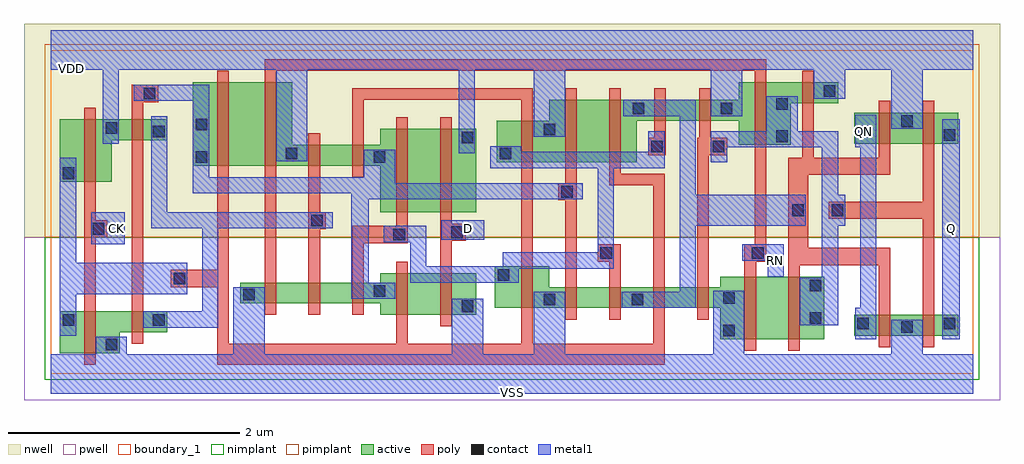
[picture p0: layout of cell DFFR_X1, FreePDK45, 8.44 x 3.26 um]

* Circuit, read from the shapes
.subckt DFFR_X1 CK D Q QN RN VDD VSS
M1 VSS CK n1 VSUBS nfet w=0.36u l=0.1u
M2 n2 n3 VSS VSUBS nfet w=0.18u l=0.1u
M3 n4 RN VSS VSUBS nfet w=0.18u l=0.1u
M4 n5 n2 n4 VSUBS nfet w=0.18u l=0.1u
M5 n3 n6 n5 VSUBS nfet w=0.18u l=0.1u
M6 n7 n1 n3 VSUBS nfet w=0.36u l=0.1u
M7 VSS D n7 VSUBS nfet w=0.36u l=0.1u
M8 VSS n1 n6 VSUBS nfet w=0.36u l=0.1u
M9 n8 n3 VSS VSUBS nfet w=0.18u l=0.1u
M10 n9 n6 n8 VSUBS nfet w=0.18u l=0.1u
M11 n10 n1 n9 VSUBS nfet w=0.18u l=0.1u
M12 VSS n11 n10 VSUBS nfet w=0.18u l=0.1u
M13 n12 RN VSS VSUBS nfet w=0.54u l=0.1u
M14 n11 n9 n12 VSUBS nfet w=0.54u l=0.1u
M15 VSS n9 QN VSUBS nfet w=0.18u l=0.1u
M16 Q n11 VSS VSUBS nfet w=0.18u l=0.1u
M17 VDD CK n1 n13 pfet w=0.54u l=0.1u
M18 n2 n3 VDD n13 pfet w=0.18u l=0.1u
M19 n14 n1 n3 n13 pfet w=0.72u l=0.1u
M20 VDD RN n14 n13 pfet w=0.72u l=0.1u
M21 n15 n2 VDD n13 pfet w=0.18u l=0.1u
M22 n3 n1 n15 n13 pfet w=0.18u l=0.1u
M23 n16 n6 n3 n13 pfet w=0.72u l=0.1u
M24 VDD D n16 n13 pfet w=0.72u l=0.1u
M25 VDD n1 n6 n13 pfet w=0.36u l=0.1u
M26 n17 n3 VDD n13 pfet w=0.54u l=0.1u
M27 n9 n1 n17 n13 pfet w=0.54u l=0.1u
M28 n18 n6 n9 n13 pfet w=0.18u l=0.1u
M29 VDD n11 n18 n13 pfet w=0.18u l=0.1u
M30 n11 RN VDD n13 pfet w=0.54u l=0.1u
M31 VDD n9 n11 n13 pfet w=0.18u l=0.1u
M32 VDD n9 QN n13 pfet w=0.27u l=0.1u
M33 Q n11 VDD n13 pfet w=0.27u l=0.1u
.ends

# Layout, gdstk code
import gdstk
lib = gdstk.Library(unit=1e-6, precision=1e-09)
def R(c, l, rs):  # rectangles x0, y0, x1, y1
    for r in rs: c.add(gdstk.rectangle(r[:2], r[2:], *l))
def P(c, l, *ps):  # polygons
    for p in ps: c.add(gdstk.Polygon(p, *l))
active = (1, 0)
pwell = (2, 0)
nwell = (3, 0)
nimplant = (4, 0)
pimplant = (5, 0)
poly = (9, 0)
contact = (10, 0)
metal1 = (11, 0)
boundary_1 = (235, 1)

dffr_x1 = lib.new_cell('DFFR_X1')
R(dffr_x1, active, [(6.95,0.33,7.85,0.51), (6.95,1.99,7.85,2.26)])
P(dffr_x1, active, [(3.86,1.83),(5.07,1.83),(5.07,2.19),(5.95,2.19),(5.95,1.98),(6.4,1.98),(6.4,2.34),(6.81,2.34),(6.81,2.52),(5.95,2.52),(5.95,2.37),(4.31,2.37),(4.31,2.19),(3.86,2.19)],
  [(3.84,0.57),(5.79,0.57),(5.79,0.3),(6.69,0.3),(6.69,0.84),(5.79,0.84),(5.79,0.75),(4.31,0.75),(4.31,0.93),(3.84,0.93)],
  [(1.23,1.8),(2.85,1.8),(2.85,1.4),(3.68,1.4),(3.68,2.12),(2.85,2.12),(2.85,1.98),(2.09,1.98),(2.09,2.52),(1.23,2.52)],
  [(1.64,0.61),(2.85,0.61),(2.85,0.51),(3.68,0.51),(3.68,0.87),(2.85,0.87),(2.85,0.79),(1.64,0.79)],
  [(0.08,1.66),(0.53,1.66),(0.53,2.02),(1.01,2.02),(1.01,2.2),(0.08,2.2)],
  [(0.08,0.18),(0.6,0.18),(0.6,0.36),(1.01,0.36),(1.01,0.54),(0.08,0.54)])
R(dffr_x1, pwell, [(-0.23,-0.23,8.21,1.18)])
R(dffr_x1, nwell, [(-0.23,1.18,8.21,3.03)])
R(dffr_x1, nimplant, [(-0.05,-0.05,8.03,1.18)])
R(dffr_x1, pimplant, [(-0.05,1.18,8.03,2.85)])
P(dffr_x1, poly, [(6.73,1.34),(7.54,1.34),(7.54,0.23),(7.64,0.23),(7.64,2.36),(7.54,2.36),(7.54,1.49),(6.73,1.49)],
  [(6.55,1.72),(7.26,1.72),(7.26,2.36),(7.16,2.36),(7.16,1.87),(6.6,1.87),(6.6,2.62),(6.5,2.62),(6.5,1.87),(6.38,1.87),(6.38,0.2),(6.48,0.2),(6.48,0.94),(7.16,0.94),(7.16,0.23),(7.26,0.23),(7.26,1.09),(6.55,1.09)],
  [(1.85,0.51),(1.95,0.51),(1.95,2.62),(6.09,2.62),(6.09,1.12),(6,1.12),(6,0.2),(6.1,0.2),(6.1,0.97),(6.19,0.97),(6.19,2.72),(1.85,2.72)],
  [(5.59,0.47),(5.69,0.47),(5.69,1.89),(5.85,1.89),(5.85,2.04),(5.71,2.04),(5.71,2.47),(5.61,2.47),(5.61,2.04),(5.59,2.04)],
  [(5.17,1.89),(5.32,1.89),(5.32,2.47),(5.22,2.47),(5.22,2.04),(5.17,2.04)],
  [(4.83,1.63),(5.21,1.63),(5.21,0.26),(4.17,0.26),(4.17,2.47),(2.61,2.47),(2.61,1.7),(2.71,1.7),(2.71,2.37),(4.07,2.37),(4.07,0.26),(3.09,0.26),(3.09,0.97),(2.99,0.97),(2.99,0.26),(1.54,0.26),(1.54,2.62),(1.44,2.62),(1.44,0.9),(1.04,0.9),(1.04,0.75),(1.44,0.75),(1.44,0.08),(5.31,0.08),(5.31,1.73),(4.93,1.73),(4.93,2.47),(4.83,2.47)],
  [(4.73,0.97),(4.83,0.97),(4.83,0.47),(4.93,0.47),(4.93,1.12),(4.73,1.12)],
  [(4.39,1.5),(4.45,1.5),(4.45,0.47),(4.55,0.47),(4.55,2.47),(4.45,2.47),(4.45,1.65),(4.39,1.65)],
  [(3.37,0.41),(3.47,0.41),(3.47,1.15),(3.59,1.15),(3.59,1.3),(3.47,1.3),(3.47,2.22),(3.37,2.22)],
  [(2.61,0.51),(2.71,0.51),(2.71,1.13),(3.09,1.13),(3.09,2.22),(2.99,2.22),(2.99,1.28),(2.61,1.28)],
  [(2.23,0.51),(2.33,0.51),(2.33,1.25),(2.38,1.25),(2.38,1.4),(2.33,1.4),(2.33,2.08),(2.23,2.08)],
  [(0.7,0.26),(0.8,0.26),(0.8,2.35),(0.93,2.35),(0.93,2.5),(0.7,2.5)],
  [(0.29,0.08),(0.39,0.08),(0.39,1.18),(0.49,1.18),(0.49,1.33),(0.39,1.33),(0.39,2.3),(0.29,2.3)])
R(dffr_x1, contact, [(0.475,0.205,0.575,0.305), (5.815,0.325,5.915,0.425), (7.355,0.355,7.455,0.455), (6.975,0.385,7.075,0.485), (7.725,0.385,7.825,0.485), (0.105,0.415,0.205,0.515), (0.885,0.415,0.985,0.515), (6.565,0.435,6.665,0.535), (3.555,0.535,3.655,0.635), (4.265,0.595,4.365,0.695), (5.025,0.595,5.125,0.695), (5.815,0.605,5.915,0.705), (1.665,0.635,1.765,0.735), (2.795,0.665,2.895,0.765), (6.565,0.715,6.665,0.815), (1.065,0.775,1.165,0.875), (3.865,0.805,3.965,0.905), (4.755,0.995,4.855,1.095), (6.065,0.995,6.165,1.095), (2.965,1.155,3.065,1.255), (3.465,1.175,3.565,1.275), (0.365,1.205,0.465,1.305), (2.255,1.275,2.355,1.375), (6.415,1.365,6.515,1.465), (6.755,1.365,6.855,1.465), (4.415,1.525,4.515,1.625), (0.105,1.685,0.205,1.785), (1.255,1.825,1.355,1.925), (2.795,1.825,2.895,1.925), (2.035,1.855,2.135,1.955), (3.885,1.855,3.985,1.955), (5.195,1.915,5.295,2.015), (5.725,1.915,5.825,2.015), (3.555,1.995,3.655,2.095), (6.275,2.005,6.375,2.105), (7.725,2.015,7.825,2.115), (0.885,2.045,0.985,2.145), (6.975,2.045,7.075,2.145), (4.265,2.065,4.365,2.165), (0.475,2.075,0.575,2.175), (1.255,2.105,1.355,2.205), (7.355,2.135,7.455,2.235), (5.035,2.245,5.135,2.345), (5.795,2.245,5.895,2.345), (6.275,2.285,6.375,2.385), (0.805,2.375,0.905,2.475), (6.685,2.395,6.785,2.495)])
R(dffr_x1, metal1, [(7.71,0.3,7.86,2.2), (7.71,0.3,7.86,2.2), (0.35,1.12,0.64,1.4), (0.35,1.12,0.64,1.4), (3.38,1.16,3.75,1.33), (3.38,1.16,3.75,1.33)])
P(dffr_x1, metal1, [(0,-0.17),(7.98,-0.17),(7.98,0.17),(7.54,0.17),(7.54,0.47),(7.27,0.47),(7.27,0.17),(6,0.17),(6,0.72),(5.73,0.72),(5.73,0.17),(4.45,0.17),(4.45,0.71),(4.18,0.71),(4.18,0.17),(3.74,0.17),(3.74,0.65),(3.47,0.65),(3.47,0.17),(1.85,0.17),(1.85,0.75),(1.58,0.75),(1.58,0.17),(0.66,0.17),(0.66,0.32),(0.39,0.32),(0.39,0.17),(0,0.17)],
  [(0,2.63),(0.45,2.63),(0.45,1.99),(0.59,1.99),(0.59,2.63),(1.95,2.63),(1.95,1.84),(2.22,1.84),(2.22,2.63),(3.53,2.63),(3.53,1.91),(3.67,1.91),(3.67,2.63),(4.18,2.63),(4.18,2.05),(4.45,2.05),(4.45,2.63),(5.71,2.63),(5.71,2.23),(5.98,2.23),(5.98,2.63),(6.6,2.63),(6.6,2.38),(6.87,2.38),(6.87,2.63),(7.27,2.63),(7.27,2.12),(7.54,2.12),(7.54,2.63),(7.98,2.63),(7.98,2.97),(0,2.97)],
  [(5.98,0.98),(6.2,0.98),(6.2,0.84),(6.34,0.84),(6.34,1.12),(5.98,1.12)],
  [(6.96,1.96),(7,1.96),(7,0.57),(6.96,0.57),(6.96,0.3),(7.14,0.3),(7.14,2.24),(6.96,2.24)],
  [(0,2.63),(0.45,2.63),(0.45,1.99),(0.59,1.99),(0.59,2.63),(1.95,2.63),(1.95,1.84),(2.22,1.84),(2.22,2.63),(3.53,2.63),(3.53,1.91),(3.67,1.91),(3.67,2.63),(4.18,2.63),(4.18,2.05),(4.45,2.05),(4.45,2.63),(5.71,2.63),(5.71,2.23),(5.98,2.23),(5.98,2.63),(6.6,2.63),(6.6,2.38),(6.87,2.38),(6.87,2.63),(7.27,2.63),(7.27,2.12),(7.54,2.12),(7.54,2.63),(7.98,2.63),(7.98,2.97),(0,2.97)],
  [(0,-0.17),(7.98,-0.17),(7.98,0.17),(7.54,0.17),(7.54,0.47),(7.27,0.47),(7.27,0.17),(6,0.17),(6,0.72),(5.73,0.72),(5.73,0.17),(4.45,0.17),(4.45,0.71),(4.18,0.71),(4.18,0.17),(3.74,0.17),(3.74,0.65),(3.47,0.65),(3.47,0.17),(1.85,0.17),(1.85,0.75),(1.58,0.75),(1.58,0.17),(0.66,0.17),(0.66,0.32),(0.39,0.32),(0.39,0.17),(0,0.17)],
  [(6.96,1.96),(7,1.96),(7,0.57),(6.96,0.57),(6.96,0.3),(7.14,0.3),(7.14,2.24),(6.96,2.24)],
  [(5.71,1.83),(5.85,1.83),(5.85,1.96),(6.67,1.96),(6.67,0.83),(6.48,0.83),(6.48,0.42),(6.81,0.42),(6.81,1.28),(6.87,1.28),(6.87,1.55),(6.81,1.55),(6.81,2.1),(6.46,2.1),(6.46,2.4),(6.19,2.4),(6.19,2.1),(5.71,2.1)],
  [(4.95,2.23),(5.44,2.23),(5.44,0.71),(4.94,0.71),(4.94,0.57),(5.58,0.57),(5.58,1.28),(6.53,1.28),(6.53,1.55),(5.58,1.55),(5.58,2.37),(4.95,2.37)],
  [(5.98,0.98),(6.2,0.98),(6.2,0.84),(6.34,0.84),(6.34,1.12),(5.98,1.12)],
  [(3.8,1.78),(4.73,1.78),(4.73,1.05),(3.91,1.05),(3.91,0.93),(3.25,0.93),(3.25,1.28),(2.88,1.28),(2.88,1.14),(3.11,1.14),(3.11,0.79),(4.05,0.79),(4.05,0.91),(4.87,0.91),(4.87,1.78),(5.31,1.78),(5.31,2.1),(5.17,2.1),(5.17,1.92),(4.07,1.92),(4.07,1.97),(3.8,1.97)],
  [(2.75,1.51),(4.6,1.51),(4.6,1.65),(2.98,1.65),(2.98,1.94),(2.71,1.94),(2.71,1.7),(1.37,1.7),(1.37,2.5),(0.72,2.5),(0.72,2.36),(1.23,2.36),(1.23,1.56),(2.6,1.56),(2.6,0.65),(2.98,0.65),(2.98,0.79),(2.75,0.79)],
  [(0.87,1.26),(1.31,1.26),(1.31,0.54),(0.8,0.54),(0.8,0.4),(1.45,0.4),(1.45,1.26),(2.44,1.26),(2.44,1.4),(1.01,1.4),(1.01,2.23),(0.87,2.23)],
  [(0.08,0.33),(0.22,0.33),(0.22,0.69),(1.18,0.69),(1.18,0.96),(0.22,0.96),(0.22,1.87),(0.08,1.87)])
R(dffr_x1, boundary_1, [(0,0,7.98,2.8)])
dffr_x1.add(gdstk.Label('VSS', (3.99,-0.16), layer=11, texttype=0))
dffr_x1.add(gdstk.Label('VDD', (0.185,2.64), layer=11, texttype=0))
dffr_x1.add(gdstk.Label('RN', (6.27,0.98), layer=11, texttype=0))
dffr_x1.add(gdstk.Label('QN', (7.03,2.1), layer=11, texttype=0))
dffr_x1.add(gdstk.Label('Q', (7.79,1.26), layer=11, texttype=0))
dffr_x1.add(gdstk.Label('D', (3.61,1.26), layer=11, texttype=0))
dffr_x1.add(gdstk.Label('CK', (0.57,1.26), layer=11, texttype=0))

lib.write_gds('DFFR_X1.gds')
